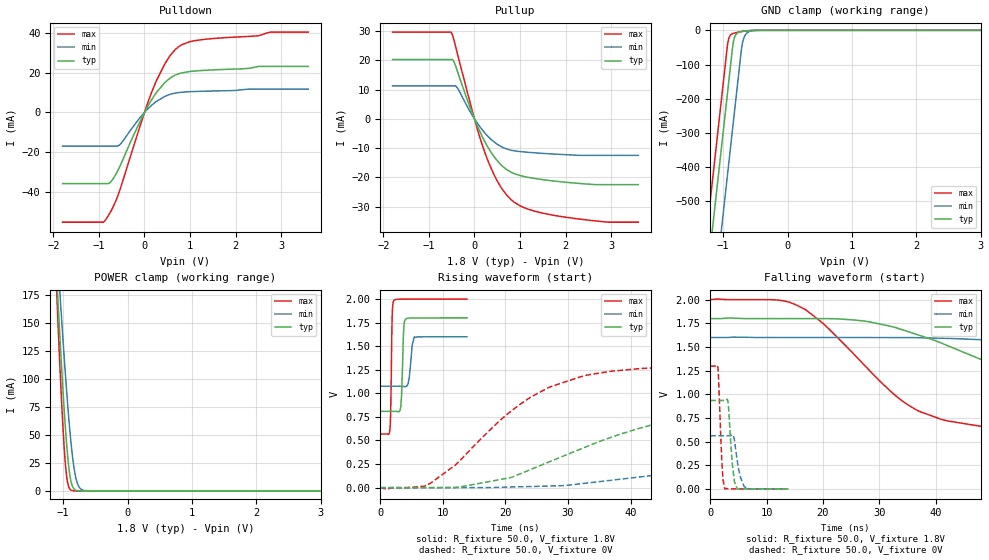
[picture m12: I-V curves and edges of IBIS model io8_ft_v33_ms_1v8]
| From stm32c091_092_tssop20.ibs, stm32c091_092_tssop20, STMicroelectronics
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[Model]   io8_ft_v33_ms_1v8
Model_type I/O
Polarity   Non-Inverting
Enable   Active-Low
| CAP_THRESHOLD on pad IOFT is "UDTCAPC" :
| Rising=30.0% of vddiom   Falling=70.0% of vddiom
| C_comp min and max val. don't necessarily correlate with the min and max pvt
| but are the smallest and greatest pad capacitance found.
| var   typ   min   max
C_comp   1.89031pF  1.85604pF  1.94178pF
|C_comp_pullup   1.06863pF  1.07314pF  1.05630pF
|C_comp_pulldown   821.68245fF  782.89578fF  885.47546fF
Vinl = 800.0mV
Vinh = 1.0V
Vmeas = 900.0mV   | Reference voltage for timing measurements
Cref  = 50.0pF   | Timing specification test load capacitance value
Rref  = 1.0MOhm   | Timing specification test load resistance value
Vref  = 990.0mV   | Timing specification test load voltage
[Model Spec]
| TIME_THRESHOLD on pin ZIV33M is "CMOS" :
| Rising=50.0% of vddiom   Falling=50.0% of vddiom
Vinl 728.70000mV 652.70000mV 817.70000mV
Vinh 1.06430V 953.30000mV 1.16330V
| variable   typ   min   max
[Temperature Range] 25.0 125.0 -40.0
| variable   typ   min   max
[Voltage Range] 1.8V 1.6V 2.0V
| variable   typ   min   max
[POWER Clamp Reference] 1.8V 1.6V 2.0V
| variable   typ   min   max
[GND Clamp Reference] 0V 0V 0V
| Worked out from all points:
|   slope of the pulldown table from 0 to 0.27 V, typ, clamps not added: 26.3 ohm
|   slope of the pullup table from 0 to 0.27 V, typ, clamps not added: 30 ohm
|   GND clamp passes 1 mA (typ) near -0.61 V on its own axis
|   POWER clamp passes 1 mA (typ) near -0.81 V on its own axis
|   rising waveform, R_fixture 50.0, V_fixture 1.8V: 20-80 % time 274ps typ, 430ps min, 192ps max; typ from 0.809 V to 1.8 V
|   falling waveform, R_fixture 50.0, V_fixture 1.8V: 20-80 % time 29.6ns typ, 56.3ns min, 15.4ns max; typ from 1.8 V to 0.809 V
|   rising waveform, R_fixture 50.0, V_fixture 0V: 20-80 % time 25.1ns typ, 45.7ns min, 14ns max; typ from 0 V to 0.934 V
|   falling waveform, R_fixture 50.0, V_fixture 0V: 20-80 % time 701ps typ, 995ps min, 528ps max; typ from 0.935 V to 0 V
[POWER Clamp]
-1.8V     1.053A     933.5mA    1.262A
-1.1V     191.1mA    222.7mA    177.1mA
-1.08V    169mA      204.2mA    149.9mA
-1.05V    136.9mA    176.9mA    110.9mA
-1.01V    96.55mA    141.6mA    64.02mA
-980mV    68.91mA    116.4mA    35.23mA
-940mV    37.57mA    84.83mA    10.65mA
-880mV    8.969mA    44.34mA    807.4uA
-830mV    1.697mA    20.19mA    75.79uA
-790mV    394.2uA    8.787mA    11.25uA
-670mV    4.467uA    374.2uA    36.56nA
3.6V      0A         0A         0A
[GND Clamp]
-1.8V     -1.658A    -1.897A    -1.517A
-1.24V    -706mA     -945.3mA   -564.6mA
-1.05V    -383mA     -622.3mA   -241.6mA
-930mV    -179mA     -418.3mA   -38.91mA
-910mV    -145mA     -384.3mA   -22.02mA
-870mV    -77.01mA   -316.3mA   -11.35mA
-850mV    -44.09mA   -282.3mA   -9.519mA
-820mV    -19mA      -231.3mA   -7.801mA
-710mV    -3.257mA   -47.82mA   -3.606mA
-660mV    -1.938mA   -14.77mA   -2.175mA
-590mV    -790.4uA   -3.415mA   -786.7uA
3.6V      506.8pA    48.18nA    364.4pA
| variable   typ   min   max
[Pullup Reference] 1.8V 1.6V 2.0V
| variable   typ   min   max
[Pulldown Reference] 0V 0V 0V
[Pullup]
-1.8V     20.32mA    11.29mA    29.71mA
-510mV    20.32mA    11.29mA    29.58mA
-460mV    19.84mA    11.29mA    27.45mA
-380mV    16.54mA    10.7mA     22.62mA
30mV      -1.154mA   -713.3uA   -1.7mA
250mV     -8.43mA    -5.178mA   -12.43mA
540mV     -15mA      -9.056mA   -22.31mA
870mV     -18.72mA   -10.91mA   -28.48mA
1.18V     -19.99mA   -11.43mA   -30.89mA
1.8V      -21.34mA   -12.07mA   -33.14mA
2.94V     -22.49mA   -12.46mA   -35.33mA
3.6V      -22.49mA   -12.46mA   -35.33mA
[Pulldown]
-1.8V     -35.76mA   -16.97mA   -55.17mA
-910mV    -35.76mA   -16.97mA   -55.17mA
-830mV    -35.76mA   -16.97mA   -53.18mA
-720mV    -34.31mA   -16.97mA   -48.86mA
-540mV    -27.04mA   -16.13mA   -38.89mA
-120mV    -5.569mA   -3.236mA   -8.457mA
230mV     8.974mA    4.965mA    14.24mA
520mV     16.45mA    8.736mA    27.07mA
750mV     19.43mA    9.977mA    33.01mA
1.37V     21.21mA    10.7mA     36.84mA
2.78V     23.13mA    11.74mA    40.36mA
3.6V      23.13mA    11.74mA    40.37mA
[Ramp]
dV/dt_r 560.57467mV/25.1179ns 336.89422mV/45.72519ns 779.17156mV/13.90392ns
dV/dt_f 594.86367mV/29.52705ns 314.63289mV/56.29799ns 859.17814mV/15.35041ns
R_load = 50.0
| Removed startup time: 0s 0s 0s  .
| Removed end time: 13.85ns.
[Rising Waveform]
R_fixture   = 50.0
V_fixture   = 1.8V
V_fixture_min = 1.6V
V_fixture_max = 2.0V
0s        808.6mV    1.076V     568.1mV
1.55ns    808.6mV    1.076V     624.3mV
1.7ns     808.6mV    1.076V     940.4mV
1.9ns     808.6mV    1.076V     1.814V
2.15ns    808.6mV    1.076V     1.981V
3.25ns    849.6mV    1.076V     1.998V
3.75ns    1.688V     1.073V     1.999V
4ns       1.784V     1.071V     1.999V
5.45ns    1.799V     1.598V     1.999V
13.85ns   1.8V       1.6V       1.999V
| Removed startup time: 0s 0s 0s  .
| Removed end time: 549.0ns.
[Falling Waveform]
R_fixture   = 50.0
V_fixture   = 1.8V
V_fixture_min = 1.6V
V_fixture_max = 2.0V
0s        1.8V       1.6V       2V
12ns      1.8V       1.6V       1.995V
17ns      1.8V       1.6V       1.891V
28ns      1.768V     1.6V       1.268V
37ns      1.625V     1.597V     822mV
49ns      1.345V     1.572V     652.5mV
60ns      1.12V      1.518V     606.9mV
84ns      899.7mV    1.345V     578mV
146ns     815.6mV    1.12V      568.1mV
549ns     808.6mV    1.076V     568mV
| Removed startup time: 0s 0s 0s  .
| Removed end time: 549.0ns.
[Rising Waveform]
R_fixture   = 50.0
V_fixture   = 0V
V_fixture_min = 0V
V_fixture_max = 0V
0s        440.8nV    588.7nV    -3.172uV
8ns       -323.6uV   -41.95uV   45.33mV
12ns      910uV      -112.8uV   239.3mV
21ns      108.8mV    6.586mV    816.6mV
27ns      273.3mV    16.71mV    1.065V
33ns      435.6mV    48.4mV     1.193V
46ns      706.2mV    147.3mV    1.276V
70ns      892.5mV    357.1mV    1.297V
115ns     933.2mV    528.2mV    1.298V
549ns     934.3mV    561.5mV    1.299V
| Removed startup time: 0s 0s 0s  .
| Removed end time: 13.85ns.
[Falling Waveform]
R_fixture   = 50.0
V_fixture   = 0V
V_fixture_min = 0V
V_fixture_max = 0V
0s        934.6mV    561.6mV    1.298V
1.35ns    934.6mV    561.6mV    1.285V
2.05ns    934.6mV    561.6mV    293.8mV
2.25ns    934.6mV    561.6mV    105.6mV
2.6ns     934.1mV    561.6mV    -811.2uV
3.15ns    916.9mV    561.4mV    2.069mV
3.95ns    245.1mV    572.1mV    1.106mV
4.8ns     434uV      292.6mV    771.8uV
6.05ns    712.3uV    22.65mV    434uV
13.85ns   265.7uV    447uV      386.1uV
